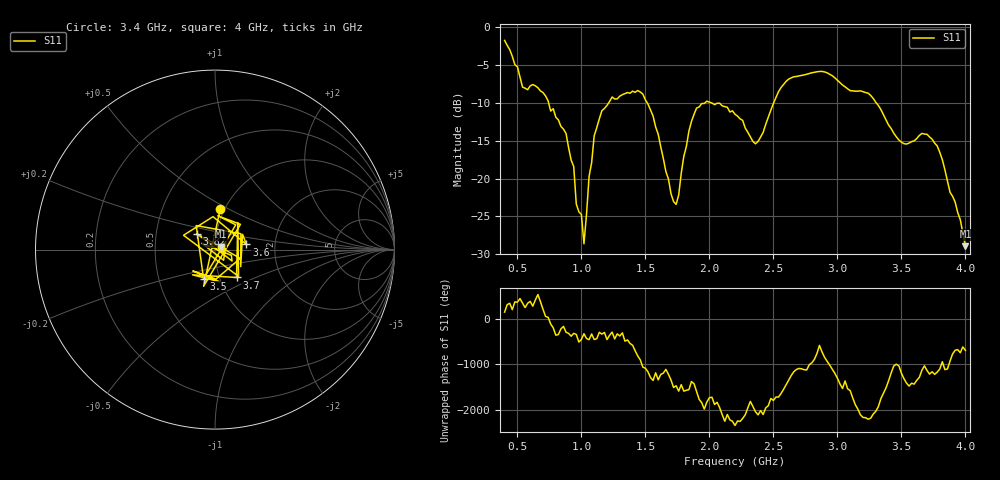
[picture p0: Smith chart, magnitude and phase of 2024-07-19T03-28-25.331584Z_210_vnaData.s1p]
!Created with skrf (http://scikit-rf.org).
# Hz S RI R 50.0
!freq ReS11 ImS11
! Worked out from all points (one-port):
!   181 points, 400 MHz to 4 GHz, reference 50 ohm
!   lowest |S11| = -28.9 dB at 4 GHz (marker M1), VSWR 1.07, Z = 53.3 + j1.72 ohm
!   |S11| at or under -10 dB: 744 MHz to 1.213 GHz (469 MHz wide, 47.9 % of centre); 2.017 GHz to 2.502 GHz (485.1 MHz wide, 21.5 % of centre); 3.304 GHz to end of sweep (the widest 3 of 4)
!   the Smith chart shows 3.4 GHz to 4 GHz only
!   S11 on the Smith chart (normalised r, x): 3.4 GHz: 0.96, +0.45; 3.5 GHz: 0.84, -0.28; 3.6 GHz: 1.42, +0.09; 3.7 GHz: 1.20, -0.39; 3.82 GHz: 0.81, +0.14; 4 GHz: 1.07, +0.03
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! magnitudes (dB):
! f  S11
! 400 MHz  -1.8
! 540 MHz  -7.9
! 700 MHz  -8.6
! 860 MHz  -13.5
! 940 MHz  -18.4
! 960 MHz  -23.4
! 1 GHz  -24.7
! 1.02 GHz  -28.6
! 1.1 GHz  -14.3
! 1.3 GHz  -9.1
! 1.48 GHz  -8.8
! 1.56 GHz  -11.7
! 1.72 GHz  -23.0
! 1.76 GHz  -22.2
! 1.84 GHz  -13.7
! 1.9 GHz  -10.7
! 2.2 GHz  -11.5
! 2.36 GHz  -15.4
! 2.66 GHz  -6.5
! 3.1 GHz  -8.4
! 3.26 GHz  -9.0
! 3.4 GHz  -12.9
! 3.5 GHz  -15.2
! 3.56 GHz  -15.3
! 3.6 GHz  -15.0
! 3.7 GHz  -14.1
! 3.82 GHz  -17.5
! 4 GHz  -28.9
